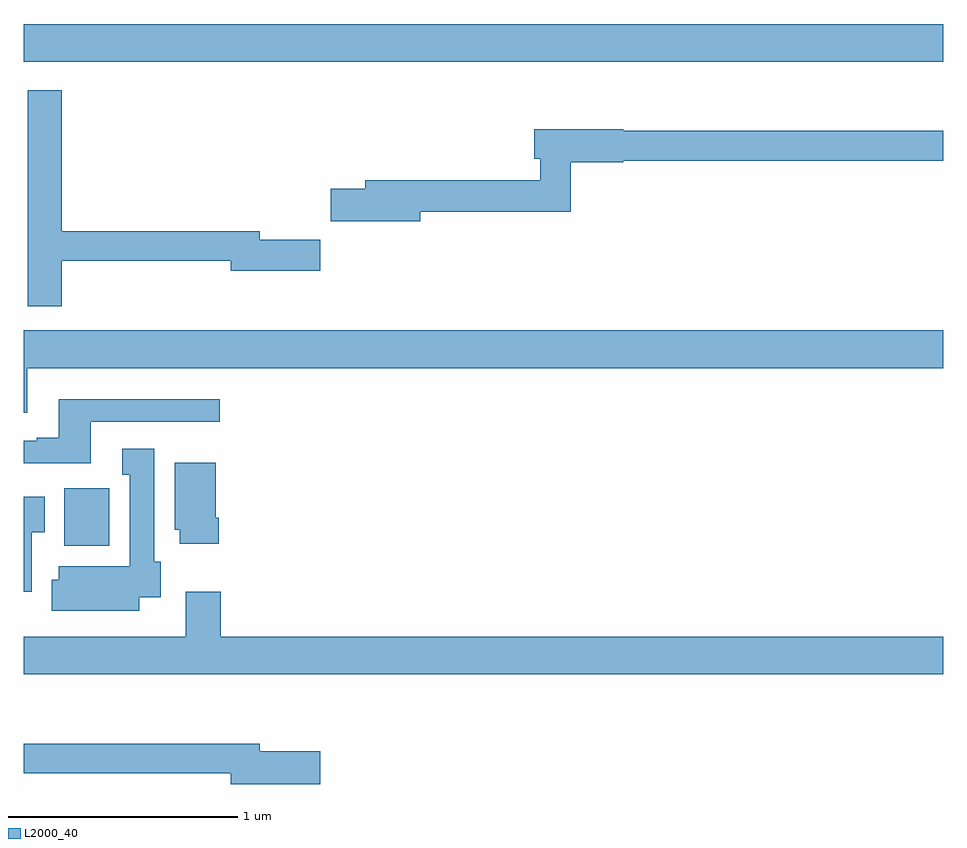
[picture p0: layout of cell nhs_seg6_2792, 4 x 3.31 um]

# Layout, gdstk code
import gdstk
lib = gdstk.Library(unit=1e-6, precision=1e-09)
def R(c, l, rs):  # rectangles x0, y0, x1, y1
    for r in rs: c.add(gdstk.rectangle(r[:2], r[2:], *l))
def P(c, l, *ps):  # polygons
    for p in ps: c.add(gdstk.Polygon(p, *l))
L2000_40 = (2000, 40)

nhs_seg6_2792 = lib.new_cell('nhs_seg6_2792')
R(nhs_seg6_2792, L2000_40, [(275.177,969.206,275.373,969.457), (275,971.312,279,971.476)])
P(nhs_seg6_2792, L2000_40, [(275.165,970.446),(275.9,970.446),(275.9,970.403),(276.289,970.403),(276.289,970.538),(276.028,970.538),(276.028,970.574),(275.165,970.574),(275.165,971.188),(275.018,971.188),(275.018,970.248),(275.165,970.248)],
  [(276.724,970.66),(277.379,970.66),(277.379,970.874),(277.608,970.874),(277.608,970.882),(279,970.882),(279,971.011),(277.608,971.011),(277.608,971.019),(277.22,971.019),(277.22,970.889),(277.247,970.889),(277.247,970.796),(276.485,970.796),(276.485,970.76),(276.336,970.76),(276.336,970.618),(276.724,970.618)],
  [(275.017,969.98),(279,969.98),(279,970.144),(275,970.144),(275,969.786),(275.017,969.786)],
  [(275.293,969.747),(275.854,969.747),(275.854,969.844),(275.153,969.844),(275.153,969.676),(275.057,969.676),(275.057,969.663),(275,969.663),(275,969.566),(275.293,969.566)],
  [(275.503,968.984),(275.596,968.984),(275.596,969.138),(275.569,969.138),(275.569,969.628),(275.429,969.628),(275.429,969.515),(275.462,969.515),(275.462,969.118),(275.153,969.118),(275.153,969.059),(275.123,969.059),(275.123,968.924),(275.503,968.924)],
  [(275.849,969.328),(275.836,969.328),(275.836,969.568),(275.657,969.568),(275.657,969.276),(275.678,969.276),(275.678,969.216),(275.849,969.216)],
  [(275.035,969.265),(275.092,969.265),(275.092,969.421),(275,969.421),(275,969.006),(275.035,969.006)],
  [(279,968.812),(275.858,968.812),(275.858,969.007),(275.705,969.007),(275.705,968.812),(275,968.812),(275,968.648),(279,968.648)],
  [(276.289,968.313),(276.028,968.313),(276.028,968.347),(275,968.347),(275,968.218),(275.9,968.218),(275.9,968.171),(276.289,968.171)])

lib.write_gds('nhs_seg6_2792.gds')
